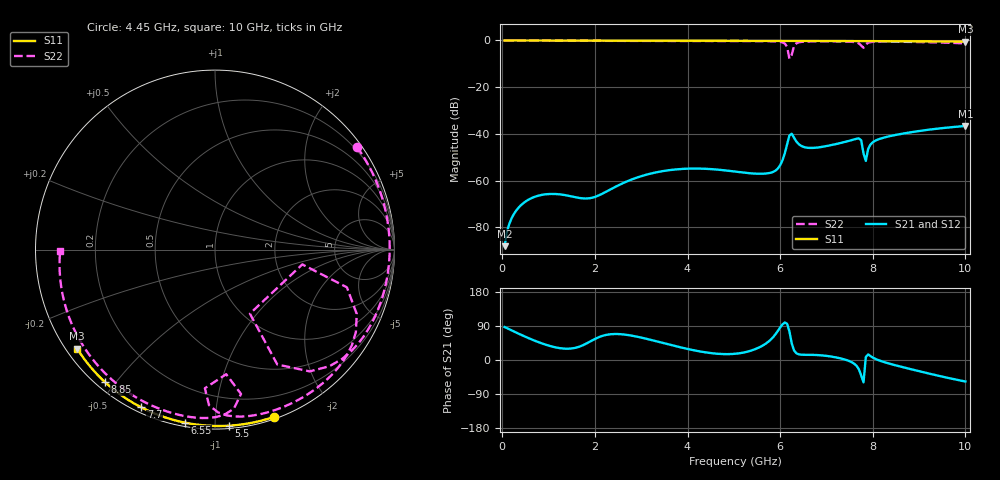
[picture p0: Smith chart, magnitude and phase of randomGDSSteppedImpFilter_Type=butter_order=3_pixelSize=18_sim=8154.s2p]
! freq	dB(S11)	phase(S11)	dB(S12)	phase(S12)
!  dB(S21)	phase(S21)	dB(S22)	phase(S22)
!S-par simulation data
#  GHz  S  DB  R 50
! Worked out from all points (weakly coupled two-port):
!   200 points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, 50 MHz to 10 GHz, reference 50 ohm
!   highest |S21| = -36.60 dB at 10 GHz (marker M1); lowest = -88.0 dB at 50 MHz (marker M2)
!   lowest |S11| = -0.5 dB at 10 GHz (marker M3), VSWR 35.76, Z = 1.54 - j16.1 ohm
!   |S11| at or under -10 dB: nowhere
!   |S22| runs from -7.8 to 0.0 dB; largest |S21 - S12| = 0
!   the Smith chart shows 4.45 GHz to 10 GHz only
!   S11 on the Smith chart (normalised r, x): 4.45 GHz: 0.02, -1.41; 5.5 GHz: 0.02, -1.08; 6.55 GHz: 0.02, -0.84; 7.7 GHz: 0.02, -0.64; 8.85 GHz: 0.03, -0.47; 10 GHz: 0.03, -0.32
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0.05  -0.00 -0.8  -88.05 87.0  -88.05 87.0  -0.00 -5.2
0.5  -0.01 -8.3  -68.96 61.3  -68.96 61.3  -0.07 -50.6
0.85  -0.02 -14.1  -66.11 44.0  -66.11 44.0  -0.10 -83.9
1.75  -0.04 -28.9  -67.61 39.5  -67.61 39.5  -0.16 -159.2
2.45  -0.05 -40.1  -62.57 68.6  -62.57 68.6  -0.18 151.2
3.4  -0.07 -54.9  -56.15 47.2  -56.15 47.2  -0.19 92.2
4.45  -0.10 -70.6  -54.99 19.1  -54.99 19.1  -0.21 35.9
5.05  -0.12 -79.2  -56.19 16.7  -56.19 16.7  -0.23 7.3
5.5  -0.14 -85.6  -57.03 30.6  -57.03 30.6  -0.26 -13.2
5.95  -0.16 -91.8  -54.82 76.5  -54.82 76.5  -0.48 -36.7
6.15  -0.17 -94.5  -44.44 95.6  -44.44 95.6  -2.75 -61.5
6.2  -0.17 -95.2  -40.62 75.7  -40.62 75.7  -7.82 -61.4
6.25  -0.17 -95.9  -39.91 44.0  -39.91 44.0  -6.14 -9.6
6.3  -0.18 -96.5  -41.63 25.2  -41.63 25.2  -2.34 -16.0
6.55  -0.19 -99.9  -45.80 13.6  -45.80 13.6  -0.47 -41.5
6.7  -0.20 -101.9  -45.99 13.5  -45.99 13.5  -0.40 -49.1
7.7  -0.26 -115.0  -41.93 -24.4  -41.93 -24.4  -1.24 -92.2
7.85  -0.27 -116.9  -51.54 7.8  -51.54 7.8  -1.75 -79.8
7.95  -0.28 -118.2  -44.55 10.4  -44.55 10.4  -0.71 -86.8
8.35  -0.32 -123.4  -41.05 -9.3  -41.05 -9.3  -0.52 -104.3
8.85  -0.36 -129.7  -39.20 -25.1  -39.20 -25.1  -0.63 -122.8
10  -0.49 -144.3  -36.60 -56.8  -36.60 -56.8  -1.28 -179.6
